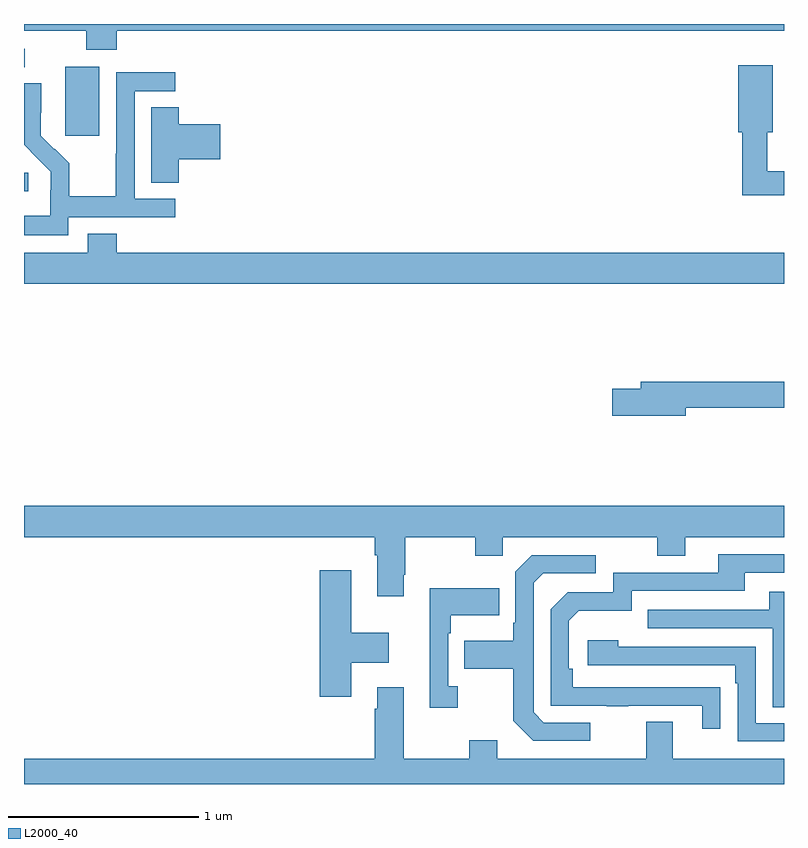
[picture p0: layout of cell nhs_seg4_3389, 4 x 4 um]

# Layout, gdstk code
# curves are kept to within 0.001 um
import gdstk
lib = gdstk.Library(unit=1e-6, precision=1e-09)
def R(c, l, rs):  # rectangles x0, y0, x1, y1
    for r in rs: c.add(gdstk.rectangle(r[:2], r[2:], *l))
def P(c, l, *ps):  # polygons
    for p in ps: c.add(gdstk.Polygon(p, *l))
L2000_40 = (2000, 40)

nhs_seg4_3389 = lib.new_cell('nhs_seg4_3389')
R(nhs_seg4_3389, L2000_40, [(291,752.021,291.022,752.118), (291.218,752.313,291.397,752.674), (291,752.673,291.004,752.769)])
P(nhs_seg4_3389, L2000_40, [(295,752.9),(291,752.9),(291,752.864),(291.328,752.864),(291.328,752.765),(291.488,752.765),(291.488,752.864),(295,752.864)],
  [(295,752.126),(294.913,752.126),(294.913,752.33),(294.941,752.33),(294.941,752.683),(294.758,752.683),(294.758,752.33),(294.781,752.33),(294.781,751.998),(295,751.998)],
  [(291.234,751.884),(291.796,751.884),(291.796,751.98),(291.582,751.98),(291.582,752.547),(291.796,752.547),(291.796,752.646),(291.486,752.646),(291.486,752.216),(291.484,752.216),(291.484,751.993),(291.239,751.993),(291.239,752.167),(291.162,752.244),(291.159,752.241),(291.089,752.312),(291.09,752.588),(291,752.588),(291,752.264),(291.14,752.122),(291.14,752.025),(291.138,752.025),(291.138,751.891),(291,751.891),(291,751.787),(291.234,751.787)],
  [(291.815,752.189),(292.033,752.189),(292.033,752.372),(291.815,752.372),(291.815,752.462),(291.671,752.462),(291.671,752.065),(291.815,752.065)],
  [(295,751.696),(291.488,751.696),(291.488,751.795),(291.335,751.795),(291.335,751.696),(291,751.696),(291,751.532),(295,751.532)],
  [(294.484,750.88),(295,750.88),(295,751.016),(294.245,751.016),(294.245,750.98),(294.096,750.98),(294.096,750.838),(294.484,750.838)],
  [(292.999,750.001),(293.007,750.001),(293.007,750.2),(293.374,750.2),(293.374,750.101),(293.52,750.101),(293.52,750.2),(294.334,750.2),(294.334,750.101),(294.481,750.101),(294.481,750.2),(295,750.2),(295,750.364),(291,750.364),(291,750.2),(292.847,750.2),(292.847,750.104),(292.859,750.104),(292.859,749.889),(292.999,749.889)],
  [(294.665,749.408),(293.888,749.409),(293.888,749.506),(293.868,749.506),(293.868,749.76),(293.921,749.813),(294.198,749.813),(294.198,749.916),(294.793,749.916),(294.793,750.012),(295,750.012),(295,750.108),(294.653,750.108),(294.653,750.012),(294.102,750.012),(294.102,749.91),(293.862,749.91),(293.772,749.82),(293.772,749.313),(294.067,749.313),(294.067,749.308),(294.179,749.308),(294.179,749.313),(294.569,749.313),(294.569,749.19),(294.665,749.19)],
  [(293.98,749.223),(293.736,749.223),(293.682,749.277),(293.682,749.958),(293.733,750.009),(294.01,750.009),(294.01,750.105),(293.673,750.105),(293.586,750.018),(293.586,749.749),(293.574,749.749),(293.574,749.653),(293.317,749.653),(293.317,749.506),(293.574,749.506),(293.574,749.233),(293.679,749.127),(293.98,749.127)],
  [(292.723,749.537),(292.921,749.537),(292.921,749.695),(292.723,749.695),(292.723,750.025),(292.556,750.025),(292.556,749.358),(292.723,749.358)],
  [(293.284,749.414),(293.232,749.414),(293.232,749.693),(293.245,749.693),(293.245,749.789),(293.501,749.789),(293.501,749.929),(293.135,749.929),(293.135,749.301),(293.284,749.301)],
  [(295,749.911),(294.923,749.911),(294.923,749.817),(294.283,749.817),(294.283,749.721),(294.942,749.721),(294.942,749.305),(295,749.305)],
  [(295,749.22),(294.852,749.22),(294.852,749.622),(294.128,749.622),(294.128,749.656),(293.967,749.656),(293.967,749.526),(294.743,749.526),(294.743,749.429),(294.756,749.429),(294.756,749.124),(295,749.124)],
  [(295,749.032),(294.415,749.032),(294.415,749.227),(294.275,749.227),(294.275,749.032),(293.491,749.032),(293.491,749.131),(293.344,749.131),(293.344,749.032),(292.999,749.032),(292.999,749.41),(292.859,749.41),(292.859,749.297),(292.847,749.297),(292.847,749.032),(291,749.032),(291,748.9),(295,748.9)])

lib.write_gds('nhs_seg4_3389.gds')
